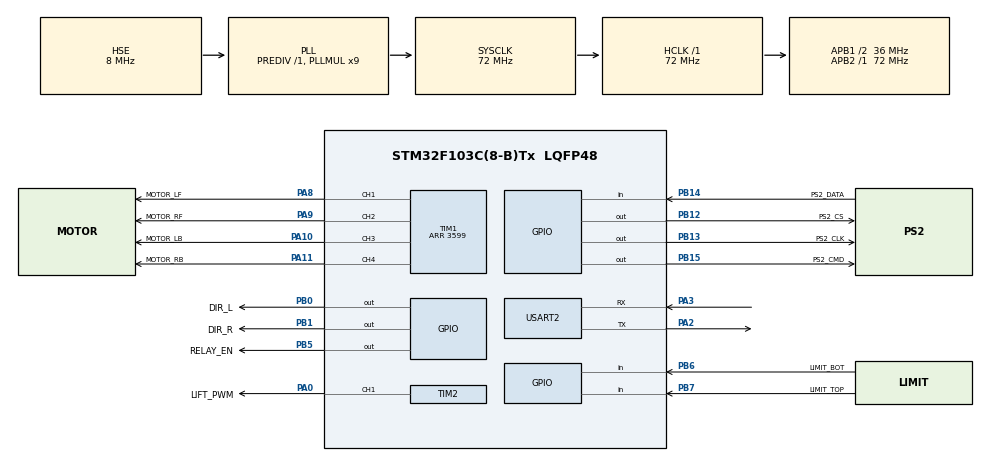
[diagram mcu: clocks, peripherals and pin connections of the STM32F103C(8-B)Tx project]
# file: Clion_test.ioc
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Mcu.Family=STM32F1
Mcu.Name=STM32F103C(8-B)Tx
Mcu.Package=LQFP48
NVIC.PriorityGroup=NVIC_PRIORITYGROUP_4
PA0-WKUP.GPIO_Label=LIFT_PWM
PA0-WKUP.Signal=S_TIM2_CH1_ETR
PA10.GPIO_Label=MOTOR_LB
PA10.Signal=S_TIM1_CH3
PA11.GPIO_Label=MOTOR_RB
PA11.Signal=S_TIM1_CH4
PA13.Mode=Serial_Wire
PA13.Signal=SYS_JTMS-SWDIO
PA14.Mode=Serial_Wire
PA14.Signal=SYS_JTCK-SWCLK
PA2.Mode=Asynchronous
PA2.Signal=USART2_TX
PA3.Mode=Asynchronous
PA3.Signal=USART2_RX
PA8.GPIO_Label=MOTOR_LF
PA8.Signal=S_TIM1_CH1
PA9.GPIO_Label=MOTOR_RF
PA9.Signal=S_TIM1_CH2
PB0.GPIO_Label=DIR_L
PB0.GPIO_PuPd=GPIO_NOPULL
PB0.Signal=GPIO_Output
PB1.GPIO_Label=DIR_R
PB1.GPIO_ModeDefaultOutputPP=GPIO_MODE_OUTPUT_PP
PB1.GPIO_PuPd=GPIO_NOPULL
PB1.Signal=GPIO_Output
PB12.GPIO_Label=PS2_CS
PB12.PinState=GPIO_PIN_SET
PB12.Signal=GPIO_Output
PB13.GPIO_Label=PS2_CLK
PB13.Signal=GPIO_Output
PB14.GPIO_Label=PS2_DATA
PB14.GPIO_PuPd=GPIO_PULLUP
PB14.Signal=GPIO_Input
PB15.GPIO_Label=PS2_CMD
PB15.PinState=GPIO_PIN_SET
PB15.Signal=GPIO_Output
PB5.GPIO_Label=RELAY_EN
PB5.GPIO_PuPd=GPIO_NOPULL
PB5.PinState=GPIO_PIN_RESET
PB5.Signal=GPIO_Output
PB6.GPIO_Label=LIMIT_BOT
PB6.GPIO_PuPd=GPIO_PULLUP
PB6.Signal=GPIO_Input
PB7.GPIO_Label=LIMIT_TOP
PB7.GPIO_PuPd=GPIO_PULLUP
PB7.Signal=GPIO_Input
PD0-OSC_IN.Mode=HSE-External-Oscillator
PD0-OSC_IN.Signal=RCC_OSC_IN
PD1-OSC_OUT.Mode=HSE-External-Oscillator
PD1-OSC_OUT.Signal=RCC_OSC_OUT
ProjectManager.HeapSize=0x200
ProjectManager.StackSize=0x400
ProjectManager.TargetToolchain=CMake
RCC.AHBFreq_Value=72000000
RCC.APB1CLKDivider=RCC_HCLK_DIV2
RCC.APB1Freq_Value=36000000
RCC.APB1TimFreq_Value=72000000
RCC.APB2Freq_Value=72000000
RCC.APB2TimFreq_Value=72000000
RCC.HCLKFreq_Value=72000000
RCC.PLLMUL=RCC_PLL_MUL9
RCC.PLLSourceVirtual=RCC_PLLSOURCE_HSE
RCC.SYSCLKFreq_VALUE=72000000
RCC.SYSCLKSource=RCC_SYSCLKSOURCE_PLLCLK
RCC.USBFreq_Value=72000000
SH.S_TIM1_CH1.0=TIM1_CH1,PWM Generation1 CH1
SH.S_TIM1_CH2.0=TIM1_CH2,PWM Generation2 CH2
SH.S_TIM1_CH3.0=TIM1_CH3,PWM Generation3 CH3
SH.S_TIM1_CH4.0=TIM1_CH4,PWM Generation4 CH4
SH.S_TIM2_CH1_ETR.0=TIM2_CH1,PWM Generation1 CH1
TIM1.AutoReloadPreload=TIM_AUTORELOAD_PRELOAD_ENABLE
TIM1.Channel-PWM\ Generation1\ CH1=TIM_CHANNEL_1
TIM1.Channel-PWM\ Generation2\ CH2=TIM_CHANNEL_2
TIM1.Channel-PWM\ Generation3\ CH3=TIM_CHANNEL_3
TIM1.Channel-PWM\ Generation4\ CH4=TIM_CHANNEL_4
TIM1.Period=3599
TIM2.AutoReloadPreload=TIM_AUTORELOAD_PRELOAD_ENABLE
TIM2.Channel-PWM\ Generation1\ CH1=TIM_CHANNEL_1
TIM2.Period=3599
TIM3.AutoReloadPreload=TIM_AUTORELOAD_PRELOAD_ENABLE
TIM3.Period=19999
TIM3.Prescaler=71
USART2.VirtualMode=VM_ASYNC
VP_TIM1_VS_ClockSourceINT.Mode=Internal
VP_TIM2_VS_ClockSourceINT.Mode=Internal
VP_TIM3_VS_ClockSourceINT.Mode=Internal
board=custom

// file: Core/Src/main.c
/* USER CODE BEGIN Header */
/**
  ******************************************************************************
  * @file           : main.c
  * @brief          : Main program body
  ******************************************************************************
  * @attention
  *
  * Copyright (c) 2026 STMicroelectronics.
  * All rights reserved.
  *
  * This software is licensed under terms that can be found in the LICENSE file
  * in the root directory of this software component.
  * If no LICENSE file comes with this software, it is provided AS-IS.
  *
  ******************************************************************************
  */
/* USER CODE END Header *//*Includes ------------------------------------------------------------------*/
#include "main.h"
#include "tim.h"
#include "usart.h"
#include "gpio.h"

/* USER CODE BEGIN Includes */
#include <stdio.h>              /* printf 重定向需要 */
#include <string.h>
#include "app_chassis.h"        /* 差速底盘：Chassis_Init/Drive/Stop/GetLR */
#include "app_ps2.h"            /* PS2 手柄：PS2_Init/PS2_Read */
#include "app_lift.h"           /* 举升丝杆：Lift_Init/SetHeight/Update/GetHeight */
#include "app_arm.h"            /* 俯仰舵机：Arm_Init/SetMode/SetPitch */
#include "app_gripper.h"        /* 夹爪舵机：Gripper_Init/Open/Close/Set */
#include "app_power.h"          /* 无线继电器 + 失联保护：Power_Init/Task/IsLost */
#include "app_globals.h"
/* USER CODE END Includes */

/* USER CODE BEGIN PD */

/* 主循环节拍：1ms */
#define LOOP_PERIOD_MS      1U

/* 手柄失联判定阈值：连续 500ms 读不到手柄，就停车 */
#define PS2_LOST_TIMEOUT_MS 500U

/* 举升手动微调步长（每按一次三角/叉，目标高度 ±3mm） */
#define LIFT_STEP_MM        3

/* USER CODE END PD */

/* USER CODE BEGIN PV */
static PS2_Data_t g_ps2;                        /* 当前一帧手柄数据 */
static uint32_t   g_ps2_last_ok   = 0;          /* 上一次成功读到手柄的时刻 */
static uint8_t    g_ps2_lost      = 0;          /* 手柄是否已判定失联 */
static uint32_t   g_tick          = 0;          /* 主循环 1ms 节拍计时 */
static uint8_t    g_pitch_deg     = 90;         /* 俯仰舵机当前角度（50~140 之间微调） */
/* USER CODE END PV */

void SystemClock_Config(void);
/* USER CODE BEGIN PFP */
static void App_Init(void);                     /* 各子系统初始化 */
static void App_Loop(void);                     /* 1ms 控制循环 */
static void App_HandlePS2(void);                /* PS2 按键 → 各子系统指令 */
/* USER CODE END PFP */

/* USER CODE BEGIN 0 */

/**
  * @brief  各子系统初始化：底盘、举升、舵机、夹爪、PS2、电源
  * @note   在 MX_xxx_Init() 全部调用之后调用
  */
static void App_Init(void)
{
    Chassis_Init();      /* 启动 TIM1 四路 PWM，占空比清零 */
    Lift_Init();         /* 启动 TIM2 一路 PWM，占空比清零 */
    Arm_Init();          /* 启动 TIM3 两路 PWM，俯仰中位、夹爪全开 */
    Gripper_Init();      /* 与 Arm_Init 共用 TIM3，这里确保夹爪初始化 */
    PS2_Init();          /* 软件 SPI 空闲电平：CS=高、CLK=低、CMD=高 */
    Power_Init();        /* 无线继电器使能，记录上电时刻 */

    /* 全局 1ms 节拍基准 */
    g_tick        = HAL_GetTick();
    g_ps2_last_ok = HAL_GetTick();

    printf("[OneCar] App_Init done\r\n");
}

/**
  * @brief  把 PS2 一帧数据翻译成各子系统的动作
  * @note   约定：
  *         左摇杆 上下 -> 前进/后退（ly）
  *         右摇杆 左右 -> 原地转向（rx）
  *         三角   -> 举升 +3mm
  *         叉     -> 举升 -3mm
  *         方     -> 夹爪开
  *         圆     -> 夹爪闭
就                                                                                                                                                                                                                                                    *         L1/R1  -> 俯仰角 -/+ 1°
  */
static void App_HandlePS2(void)
{
    /* ---------- 底盘：左摇杆 ly 控制前后，右摇杆 rx 控制转向 ---------- */
    /* 注意：PS2 的 ly 上推为负值，所以取负号让"上推 = 前进" */
    Chassis_Drive((int16_t)(-g_ps2.ly), (int16_t)(g_ps2.rx));

    /* ---------- 举升：三角/叉 微调目标高度 ---------- */
    if (g_ps2.triangle) {
        Lift_SetHeight((uint16_t)(Lift_GetHeight() + LIFT_STEP_MM));
    }
    if (g_ps2.cross) {
        int16_t next = (int16_t)Lift_GetHeight() - LIFT_STEP_MM;
        Lift_SetHeight((uint16_t)(next < 0 ? 0 : next));  /* 防下溢 */
    }

    /* ---------- 夹爪：方开、圆闭 ---------- */
    if (g_ps2.square) Gripper_Open();
    if (g_ps2.circle) Gripper_Close();

    /* ---------- 俯仰：L1 减、R1 加，限制在 50~140° ---------- */
    if (g_ps2.l1 && g_pitch_deg > 50)  g_pitch_deg--;
    if (g_ps2.r1 && g_pitch_deg < 140) g_pitch_deg++;
    Arm_SetPitch(g_pitch_deg);
}

/**
  * @brief  1ms 控制循环：读手柄 → 分发指令 → 子系统更新 → 失联保护
  */
static void App_Loop(void)
{
    /* ---- 1ms 节拍控制 ---- */
    if ((HAL_GetTick() - g_tick) < LOOP_PERIOD_MS) return;
    g_tick = HAL_GetTick();

    /* ---- 读手柄 ---- */
    g_ps2_ok = PS2_Read(&g_ps2);
    if (g_ps2_ok) {
        g_ps2_last_ok = HAL_GetTick();
        g_ps2_lost    = 0;
    } else if ((HAL_GetTick() - g_ps2_last_ok) > PS2_LOST_TIMEOUT_MS) {
        g_ps2_lost    = 1;
    }

    /* ---- 分发 ---- */
    if (g_ps2_ok && !g_ps2_lost && !Power_IsLost()) {
        App_HandlePS2();
    } else {
        /* 失联或低压：只停车，不断电（断电由无线继电器负责） */
        Chassis_Stop();
    }

    /* ---- 子系统后台任务 ---- */
    Lift_Update();       /* 限位检测 + 高度估算 */
    Power_Task();        /* 手柄失联判定 + 低压保护（软逻辑） */
}
/* USER CODE END 0 */

int main(void)
{

    /* MCU Configuration--------------------------------------------------------*/

    /* Reset of all peripherals, Initializes the Flash interface and the Systick. */
    HAL_Init();
    SystemClock_Config();
    MX_GPIO_Init();

    /* 加这三行，上电立刻拉高 SWD 引脚，防止被误配置成普通 IO */
    __HAL_RCC_GPIOA_CLK_ENABLE();
    GPIO_InitTypeDef GPIO_InitStruct = {0};
    GPIO_InitStruct.Pin = GPIO_PIN_13 | GPIO_PIN_14;
    GPIO_InitStruct.Mode = GPIO_MODE_AF_PP;
    GPIO_InitStruct.Speed = GPIO_SPEED_FREQ_HIGH;
    HAL_GPIO_Init(GPIOA, &GPIO_InitStruct);

    /* Configure the system clock */
    SystemClock_Config();

    /* Initialize all configured peripherals */
    MX_GPIO_Init();
    MX_TIM1_Init();      /* 底盘 4 路 PWM */
    MX_TIM2_Init();      /* 举升 1 路 PWM */
    MX_TIM3_Init();      /* 舵机 2 路 PWM */
    MX_USART2_UART_Init();

    /* USER CODE BEGIN 2 */
    App_Init();          /* 各子系统初始化 */
    printf("[OneCar] boot ok, build %s %s\r\n", __DATE__, __TIME__);
    Lift_Init();
    /* USER CODE END 2 */

    /* Infinite loop */
    while (1)
    {

        /* USER CODE BEGIN 3 */
        App_Loop();      /* 1ms 控制循环 */
        /* USER CODE END 3 */
    }
    /* USER CODE END WHILE */
}

void SystemClock_Config(void)
{
    RCC_OscInitTypeDef RCC_OscInitStruct = {0};
    RCC_ClkInitTypeDef RCC_ClkInitStruct = {0};

    /** Initializes the RCC Oscillators according to the specified parameters
      * in the RCC_OscInitTypeDef structure.
      */
    RCC_OscInitStruct.OscillatorType = RCC_OSCILLATORTYPE_HSE;
    RCC_OscInitStruct.HSEState       = RCC_HSE_ON;
    RCC_OscInitStruct.HSEPredivValue = RCC_HSE_PREDIV_DIV1;
    RCC_OscInitStruct.HSIState       = RCC_HSI_ON;
    RCC_OscInitStruct.PLL.PLLState   = RCC_PLL_ON;
    RCC_OscInitStruct.PLL.PLLSource  = RCC_PLLSOURCE_HSE;
    RCC_OscInitStruct.PLL.PLLMUL     = RCC_PLL_MUL9;
    if (HAL_RCC_OscConfig(&RCC_OscInitStruct) != HAL_OK) {
        Error_Handler();
    }

    /** Initializes the CPU, AHB and APB buses clocks
      */
    RCC_ClkInitStruct.ClockType      = RCC_CLOCKTYPE_HCLK   |
                                        RCC_CLOCKTYPE_SYSCLK |
                                        RCC_CLOCKTYPE_PCLK1  |
                                        RCC_CLOCKTYPE_PCLK2;
    RCC_ClkInitStruct.SYSCLKSource   = RCC_SYSCLKSOURCE_PLLCLK;
    RCC_ClkInitStruct.AHBCLKDivider  = RCC_SYSCLK_DIV1;
    RCC_ClkInitStruct.APB1CLKDivider = RCC_HCLK_DIV2;
    RCC_ClkInitStruct.APB2CLKDivider = RCC_HCLK_DIV1;
    if (HAL_RCC_ClockConfig(&RCC_ClkInitStruct, FLASH_LATENCY_2) != HAL_OK) {
        Error_Handler();
    }
}

/* USER CODE BEGIN 4 */

int __io_putchar(int ch)
{
    HAL_UART_Transmit(&huart2, (uint8_t *)&ch, 1, 10);
    return ch;
}

/* USER CODE END 4 */

void Error_Handler(void)
{
    /* USER CODE BEGIN Error_Handler_Debug */
    /* 出错了，全车停，然后死循环 */
    Chassis_Stop();
    __disable_irq();
    while (1) {
    }
    /* USER CODE END Error_Handler_Debug */
}

#ifdef  USE_FULL_ASSERT
/**
  * @brief  Reports the name of the source file and the source line number
  *         where the assert_param error has occurred.
  */
void assert_failed(uint8_t *file, uint32_t line)
{
    /* USER CODE BEGIN 6 */
    printf("[ASSERT] %s:%lu\r\n", file, line);
    /* USER CODE END 6 */
}
#endif /* USE_FULL_ASSERT */
